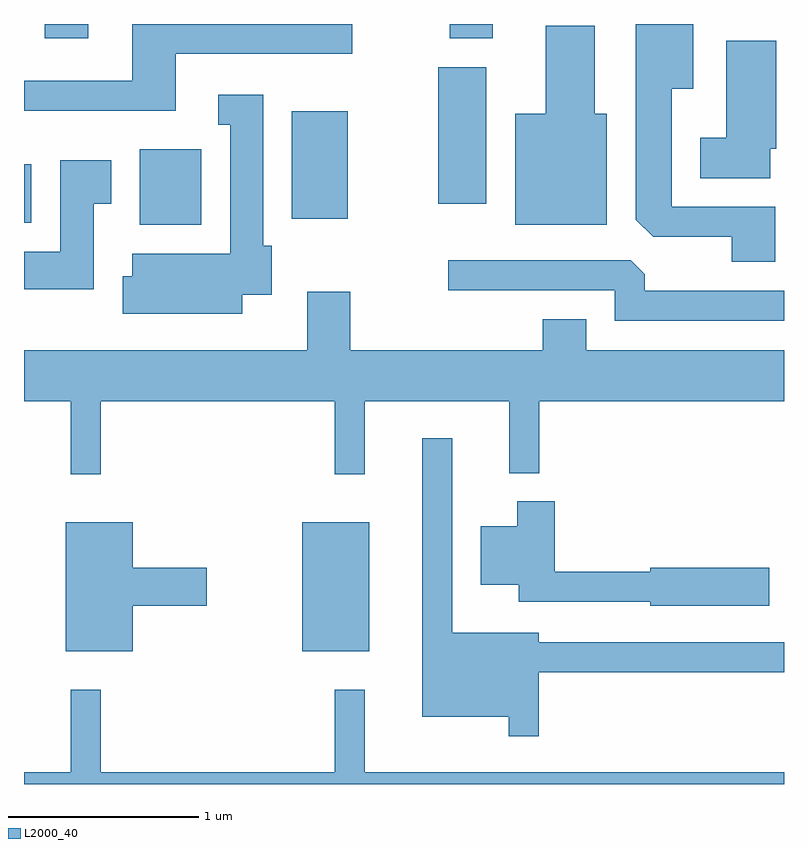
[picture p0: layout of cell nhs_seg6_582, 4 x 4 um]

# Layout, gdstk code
import gdstk
lib = gdstk.Library(unit=1e-6, precision=1e-09)
def R(c, l, rs):  # rectangles x0, y0, x1, y1
    for r in rs: c.add(gdstk.rectangle(r[:2], r[2:], *l))
def P(c, l, *ps):  # polygons
    for p in ps: c.add(gdstk.Polygon(p, *l))
L2000_40 = (2000, 40)

nhs_seg6_582 = lib.new_cell('nhs_seg6_582')
R(nhs_seg6_582, L2000_40, [(203.076,1630.861,203.429,1631.539), (202.221,1633.106,202.544,1633.504), (201.611,1633.116,201.649,1633.424), (203.021,1633.136,203.314,1633.704), (203.791,1633.216,204.044,1633.934), (201.721,1634.086,201.949,1634.162), (203.851,1634.086,204.079,1634.162)])
P(nhs_seg6_582, L2000_40, [(202.409,1634.006),(203.338,1634.006),(203.338,1634.162),(202.181,1634.162),(202.181,1633.864),(201.611,1633.864),(201.611,1633.706),(202.409,1633.706)],
  [(205.564,1633.199),(205.019,1633.199),(205.019,1633.821),(205.134,1633.821),(205.134,1634.162),(204.831,1634.162),(204.831,1633.132),(204.922,1633.041),(205.336,1633.041),(205.336,1632.911),(205.564,1632.911)],
  [(204.679,1633.689),(204.614,1633.689),(204.614,1634.154),(204.356,1634.154),(204.356,1633.689),(204.196,1633.689),(204.196,1633.106),(204.679,1633.106)],
  [(205.539,1633.506),(205.569,1633.506),(205.569,1634.074),(205.306,1634.074),(205.306,1633.564),(205.171,1633.564),(205.171,1633.351),(205.539,1633.351)],
  [(202.759,1632.736),(202.914,1632.736),(202.914,1632.994),(202.869,1632.994),(202.869,1633.789),(202.633,1633.789),(202.633,1633.631),(202.696,1633.631),(202.696,1632.954),(202.181,1632.954),(202.181,1632.834),(202.131,1632.834),(202.131,1632.636),(202.759,1632.636)],
  [(201.979,1633.216),(202.069,1633.216),(202.069,1633.444),(201.801,1633.444),(201.801,1632.964),(201.611,1632.964),(201.611,1632.766),(201.979,1632.766)],
  [(205.611,1632.759),(204.879,1632.759),(204.879,1632.844),(204.804,1632.919),(203.843,1632.919),(203.843,1632.761),(204.721,1632.761),(204.721,1632.601),(205.611,1632.601)],
  [(202.014,1632.176),(203.246,1632.176),(203.246,1631.793),(203.404,1631.793),(203.404,1632.176),(204.166,1632.176),(204.166,1631.798),(204.324,1631.798),(204.324,1632.176),(205.611,1632.176),(205.611,1632.444),(204.569,1632.444),(204.569,1632.609),(204.341,1632.609),(204.341,1632.444),(203.329,1632.444),(203.329,1632.754),(203.101,1632.754),(203.101,1632.444),(201.611,1632.444),(201.611,1632.176),(201.856,1632.176),(201.856,1631.793),(202.014,1631.793)],
  [(204.319,1630.751),(205.611,1630.751),(205.611,1630.909),(204.319,1630.909),(204.319,1630.959),(203.864,1630.959),(203.864,1631.983),(203.706,1631.983),(203.706,1630.516),(204.161,1630.516),(204.161,1630.413),(204.319,1630.413)],
  [(205.534,1631.299),(204.906,1631.299),(204.906,1631.279),(204.404,1631.279),(204.404,1631.649),(204.206,1631.649),(204.206,1631.519),(204.016,1631.519),(204.016,1631.211),(204.216,1631.211),(204.216,1631.121),(204.906,1631.121),(204.906,1631.101),(205.534,1631.101)],
  [(202.184,1631.101),(202.574,1631.101),(202.574,1631.299),(202.184,1631.299),(202.184,1631.539),(201.831,1631.539),(201.831,1630.861),(202.184,1630.861)],
  [(205.611,1630.224),(203.404,1630.224),(203.404,1630.658),(203.246,1630.658),(203.246,1630.224),(202.014,1630.224),(202.014,1630.658),(201.856,1630.658),(201.856,1630.224),(201.611,1630.224),(201.611,1630.162),(205.611,1630.162)])

lib.write_gds('nhs_seg6_582.gds')
